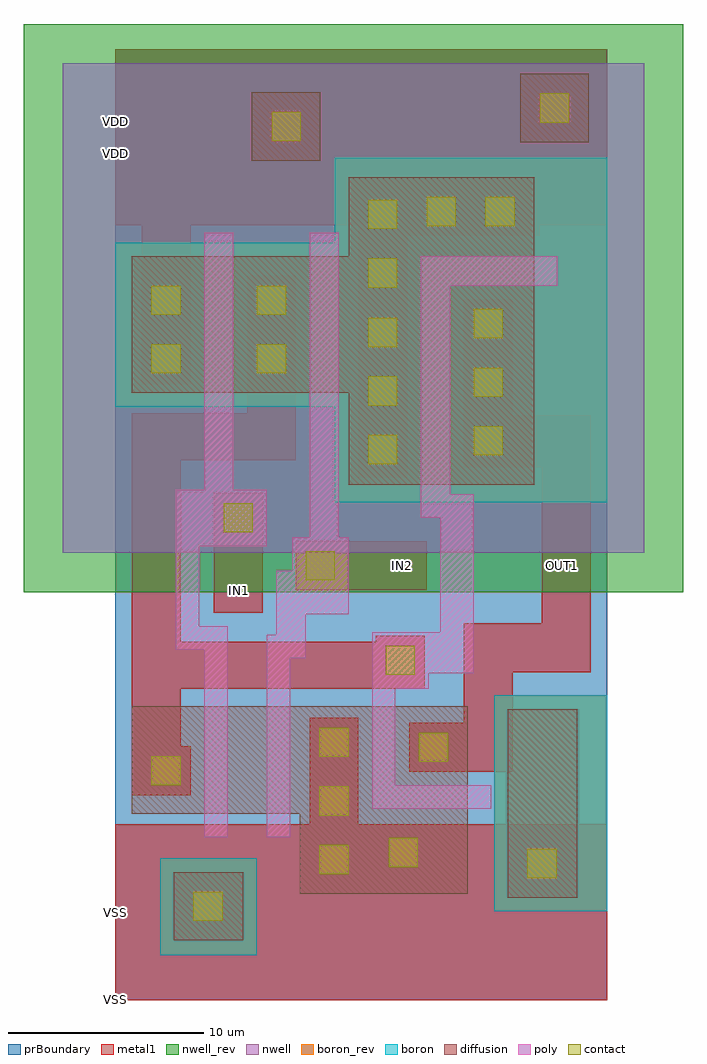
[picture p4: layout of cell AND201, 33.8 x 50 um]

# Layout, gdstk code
import gdstk
lib = gdstk.Library(unit=1e-6, precision=1e-09)
def R(c, l, rs):  # rectangles x0, y0, x1, y1
    for r in rs: c.add(gdstk.rectangle(r[:2], r[2:], *l))
def A(c, l, x, y, w, h, nx, ny, dx, dy):  # array of equal rectangles
    R(c, l, [(x+i*dx, y+j*dy, x+i*dx+w, y+j*dy+h) for i in range(nx) for j in range(ny)])
def P(c, l, *ps):  # polygons
    for p in ps: c.add(gdstk.Polygon(p, *l))
nwell = (1, 0)
diffusion = (2, 0)
nwell_rev = (3, 0)
poly = (4, 0)
boron = (5, 0)
boron_rev = (6, 0)
contact = (7, 0)
metal1 = (8, 0)
prBoundary = (28, 0)

and201 = lib.new_cell('AND201')
R(and201, nwell, [(-2.7,22.9,27.1,48)])
R(and201, diffusion, [(3,3.05,6.55,6.55), (20.1,5.25,23.65,14.9), (7,43,10.5,46.5), (20.75,43.95,24.25,47.45)])
P(and201, diffusion, [(11.95,26.4),(11.95,31.1),(0.85,31.1),(0.85,38.1),(11.95,38.1),(11.95,42.15),(21.45,42.15),(21.45,26.4)],
  [(9.45,5.45),(9.45,9.55),(0.85,9.55),(0.85,15.05),(18.05,15.05),(18.05,5.45)])
R(and201, nwell_rev, [(-4.7,20.9,29.1,50)])
P(and201, poly, [(7.75,8.35),(7.75,18.7),(8.25,18.7),(8.25,22),(9.05,22),(9.05,23.7),(9.95,23.7),(9.95,39.3),(11.45,39.3),(11.45,23.7),(11.95,23.7),(11.95,19.75),(9.75,19.75),(9.75,17.5),(8.95,17.5),(8.95,8.35)],
  [(13.15,9.8),(13.15,18.85),(16.65,18.85),(16.65,24.7),(15.65,24.7),(15.65,38.1),(22.65,38.1),(22.65,36.6),(17.15,36.6),(17.15,25.9),(18.35,25.9),(18.35,16.75),(16.05,16.75),(16.05,15.95),(14.35,15.95),(14.35,11),(19.25,11),(19.25,9.8)],
  [(4.55,8.35),(4.55,17.95),(3.1,17.95),(3.1,26.15),(4.55,26.15),(4.55,39.3),(6.05,39.3),(6.05,26.15),(7.75,26.15),(7.75,23.25),(4.3,23.25),(4.3,19.15),(5.75,19.15),(5.75,8.35)])
R(and201, boron, [(2.3,2.3,7.25,7.25), (19.4,4.55,25.2,15.6)])
P(and201, boron, [(11.25,25.5),(11.25,30.4),(0,30.4),(0,38.8),(11.25,38.8),(11.25,43.15),(25.2,43.15),(25.2,25.5)])
R(and201, boron_rev, [(2.3,2.3,7.25,7.25), (19.4,4.55,25.2,15.6)])
P(and201, boron_rev, [(11.25,25.5),(11.25,30.4),(0,30.4),(0,38.8),(11.25,38.8),(11.25,43.15),(25.2,43.15),(25.2,25.5)])
A(and201, contact, 10.45, 6.45, 1.5, 1.5, 1, 3, 0, 3)
A(and201, contact, 12.95, 27.45, 1.5, 1.5, 1, 3, 0, 3)
A(and201, contact, 18.35, 27.9, 1.5, 1.5, 1, 3, 0, 3)
R(and201, contact, [(4,4.05,5.5,5.55), (21.1,6.25,22.6,7.75), (14,6.8,15.5,8.3), (1.85,11,3.35,12.5), (15.55,12.2,17.05,13.7), (13.85,16.65,15.35,18.15), (9.75,21.5,11.25,23), (5.55,23.95,7.05,25.45), (1.85,32.1,3.35,33.6), (7.25,32.1,8.75,33.6), (1.85,35.1,3.35,36.6), (7.25,35.1,8.75,36.6), (12.95,36.5,14.45,38), (12.95,39.5,14.45,41), (15.95,39.65,17.45,41.15), (18.95,39.65,20.45,41.15), (8,44,9.5,45.5), (21.75,44.95,23.25,46.45)])
R(and201, metal1, [(0,0,25.2,9), (5.05,19.85,7.55,25.95), (9.25,21,15.95,23.5), (0,39.7,25.2,48.7)])
P(and201, metal1, [(0.85,10.5),(0.85,30.05),(6.75,30.05),(6.75,37.1),(9.25,37.1),(9.25,27.65),(3.35,27.65),(3.35,18.35),(13.35,18.35),(13.35,18.65),(15.85,18.65),(15.85,15.95),(3.35,15.95),(3.35,13),(3.85,13),(3.85,10.5)],
  [(12.45,26.75),(12.45,39.7),(3.85,39.7),(3.85,31.55),(1.35,31.55),(1.35,39.7),(0,39.7),(0,48.7),(25.2,48.7),(25.2,39.7),(21.75,39.7),(21.75,39.15),(14.95,39.15),(14.95,26.75)],
  [(0,0),(0,9),(9.95,9),(9.95,14.45),(12.45,14.45),(12.45,9),(25.2,9),(25.2,0)],
  [(15.05,11.7),(15.05,14.2),(17.85,14.2),(17.85,19.3),(21.85,19.3),(21.85,27.3),(17.85,27.3),(17.85,35.9),(20.35,35.9),(20.35,29.95),(24.35,29.95),(24.35,16.8),(20.35,16.8),(20.35,11.7)])
R(and201, prBoundary, [(0,0,25.2,48.7)])
and201.add(gdstk.Label('VSS', (0.001,0.001), layer=8, texttype=7))
and201.add(gdstk.Label('VDD', (0.002,45), layer=8, texttype=7))
and201.add(gdstk.Label('VDD', (0,43.377), layer=8, texttype=7))
and201.add(gdstk.Label('VSS', (0,4.458), layer=8, texttype=7))
and201.add(gdstk.Label('OUT1', (22.9,22.25), layer=8, texttype=7))
and201.add(gdstk.Label('IN1', (6.35,21), layer=8, texttype=7))
and201.add(gdstk.Label('IN2', (14.7,22.25), layer=8, texttype=7))

lib.write_gds('AND201.gds')
